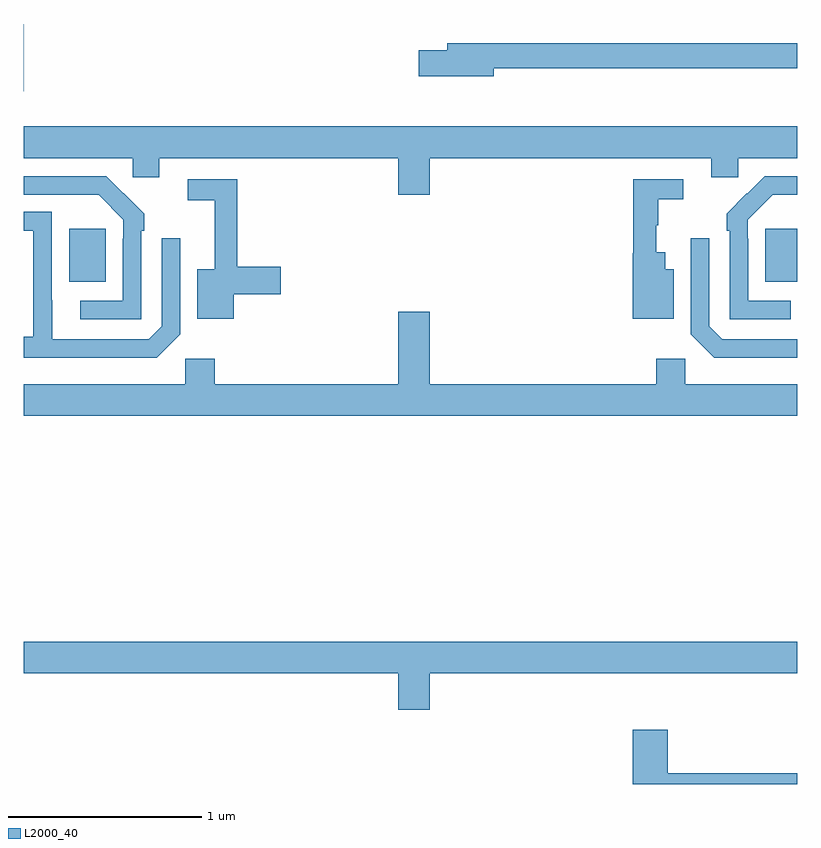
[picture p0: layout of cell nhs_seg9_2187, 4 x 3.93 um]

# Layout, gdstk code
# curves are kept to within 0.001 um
import gdstk
lib = gdstk.Library(unit=1e-6, precision=1e-09)
def R(c, l, rs):  # rectangles x0, y0, x1, y1
    for r in rs: c.add(gdstk.rectangle(r[:2], r[2:], *l))
def P(c, l, *ps):  # polygons
    for p in ps: c.add(gdstk.Polygon(p, *l))
L2000_40 = (2000, 40)

nhs_seg9_2187 = lib.new_cell('nhs_seg9_2187')
R(nhs_seg9_2187, L2000_40, [(235.235,1213.097,235.423,1213.372), (238.835,1213.097,239,1213.372), (235,1214.082,235.001,1214.43)])
P(nhs_seg9_2187, L2000_40, [(237.43,1214.202),(239,1214.202),(239,1214.33),(237.191,1214.33),(237.191,1214.294),(237.042,1214.294),(237.042,1214.159),(237.43,1214.159)],
  [(237.1,1213.736),(238.556,1213.736),(238.556,1213.638),(238.695,1213.638),(238.695,1213.736),(239,1213.736),(239,1213.9),(235,1213.9),(235,1213.736),(235.563,1213.736),(235.563,1213.638),(235.702,1213.638),(235.702,1213.736),(236.936,1213.736),(236.936,1213.548),(237.1,1213.548)],
  [(235.608,1213.361),(235.623,1213.361),(235.623,1213.449),(235.426,1213.644),(235,1213.644),(235,1213.548),(235.387,1213.548),(235.515,1213.419),(235.515,1213.319),(235.512,1213.319),(235.512,1212.999),(235.293,1212.999),(235.293,1212.903),(235.608,1212.903)],
  [(238.966,1212.999),(238.746,1212.999),(238.746,1213.319),(238.743,1213.319),(238.743,1213.419),(238.872,1213.548),(239,1213.548),(239,1213.644),(238.832,1213.644),(238.635,1213.449),(238.635,1213.361),(238.65,1213.361),(238.65,1212.903),(238.966,1212.903)],
  [(236.086,1213.033),(236.329,1213.033),(236.329,1213.175),(236.105,1213.175),(236.105,1213.626),(235.848,1213.626),(235.848,1213.518),(235.988,1213.518),(235.988,1213.162),(235.898,1213.162),(235.898,1212.905),(236.086,1212.905)],
  [(238.36,1213.162),(238.318,1213.162),(238.318,1213.249),(238.271,1213.249),(238.271,1213.389),(238.282,1213.389),(238.282,1213.525),(238.411,1213.525),(238.411,1213.626),(238.153,1213.626),(238.153,1213.245),(238.148,1213.245),(238.148,1212.905),(238.36,1212.905)],
  [(235.809,1212.825),(235.809,1213.321),(235.713,1213.321),(235.713,1212.867),(235.647,1212.801),(235.147,1212.801),(235.146,1213.458),(235,1213.458),(235,1213.362),(235.05,1213.362),(235.05,1212.814),(235,1212.814),(235,1212.704),(235.688,1212.704)],
  [(239,1212.801),(238.611,1212.801),(238.545,1212.867),(238.545,1213.321),(238.449,1213.321),(238.449,1212.825),(238.57,1212.704),(239,1212.704)],
  [(239,1212.568),(238.422,1212.568),(238.422,1212.7),(238.271,1212.7),(238.271,1212.568),(237.1,1212.568),(237.1,1212.943),(236.936,1212.943),(236.936,1212.568),(235.988,1212.568),(235.988,1212.7),(235.836,1212.7),(235.836,1212.568),(235,1212.568),(235,1212.404),(239,1212.404)],
  [(237.1,1211.072),(239,1211.072),(239,1211.236),(235,1211.236),(235,1211.072),(236.936,1211.072),(236.936,1210.884),(237.1,1210.884)],
  [(239,1210.556),(238.331,1210.556),(238.331,1210.78),(238.148,1210.78),(238.148,1210.5),(239,1210.5)])

lib.write_gds('nhs_seg9_2187.gds')
